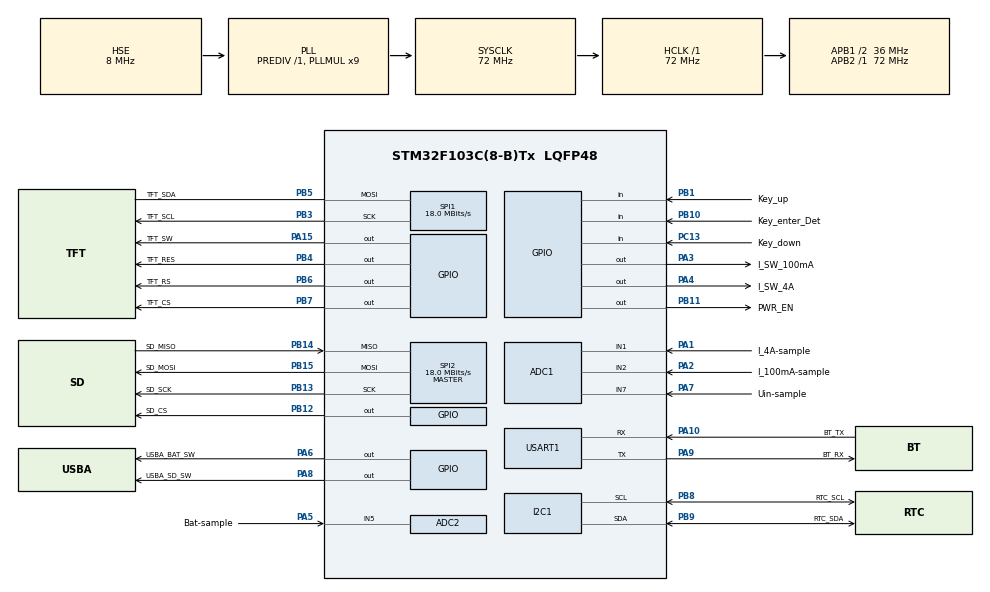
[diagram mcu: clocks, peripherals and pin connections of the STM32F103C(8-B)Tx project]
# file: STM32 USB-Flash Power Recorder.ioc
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ADC1.Channel-0\#ChannelRegularConversion=ADC_CHANNEL_1
ADC1.NbrOfConversionFlag=1
ADC1.Rank-0\#ChannelRegularConversion=1
ADC1.SamplingTime-0\#ChannelRegularConversion=ADC_SAMPLETIME_1CYCLE_5
ADC1.master=1
ADC2.Channel-0\#ChannelRegularConversion=ADC_CHANNEL_5
ADC2.NbrOfConversionFlag=1
ADC2.Rank-0\#ChannelRegularConversion=1
ADC2.SamplingTime-0\#ChannelRegularConversion=ADC_SAMPLETIME_1CYCLE_5
Mcu.Family=STM32F1
Mcu.Name=STM32F103C(8-B)Tx
Mcu.Package=LQFP48
NVIC.PriorityGroup=NVIC_PRIORITYGROUP_4
PA1.GPIO_Label=I_4A-sample
PA1.Signal=ADCx_IN1
PA10.GPIO_Label=BT_TX
PA10.Mode=Asynchronous
PA10.Signal=USART1_RX
PA13.Mode=Serial_Wire
PA13.Signal=SYS_JTMS-SWDIO
PA14.Mode=Serial_Wire
PA14.Signal=SYS_JTCK-SWCLK
PA15.GPIO_Label=TFT_SW
PA15.Signal=GPIO_Output
PA2.GPIO_Label=I_100mA-sample
PA2.Signal=ADCx_IN2
PA3.GPIO_Label=I_SW_100mA
PA3.Signal=GPIO_Output
PA4.GPIO_Label=I_SW_4A
PA4.Signal=GPIO_Output
PA5.GPIO_Label=Bat-sample
PA5.Signal=ADCx_IN5
PA6.GPIO_Label=USBA_BAT_SW
PA6.Signal=GPIO_Output
PA7.GPIO_Label=Uin-sample
PA7.Signal=ADCx_IN7
PA8.GPIO_Label=USBA_SD_SW
PA8.Signal=GPIO_Output
PA9.GPIO_Label=BT_RX 
PA9.Mode=Asynchronous
PA9.Signal=USART1_TX
PB1.GPIO_Label=Key_up
PB1.Signal=GPIO_Input
PB10.GPIO_Label=Key_enter_Det
PB10.Signal=GPIO_Input
PB11.GPIO_Label=PWR_EN
PB11.Signal=GPIO_Output
PB12.GPIO_Label=SD_CS
PB12.Signal=GPIO_Output
PB13.GPIO_Label=SD_SCK
PB13.Mode=Full_Duplex_Master
PB13.Signal=SPI2_SCK
PB14.GPIO_Label=SD_MISO
PB14.Mode=Full_Duplex_Master
PB14.Signal=SPI2_MISO
PB15.GPIO_Label=SD_MOSI
PB15.Mode=Full_Duplex_Master
PB15.Signal=SPI2_MOSI
PB3.GPIO_Label=TFT_SCL
PB3.Mode=Simplex_Bidirectional_Master
PB3.Signal=SPI1_SCK
PB4.GPIO_Label=TFT_RES
PB4.Signal=GPIO_Output
PB5.GPIO_Label=TFT_SDA
PB5.Mode=Simplex_Bidirectional_Master
PB5.Signal=SPI1_MOSI
PB6.GPIO_Label=TFT_RS
PB6.Signal=GPIO_Output
PB7.GPIO_Label=TFT_CS
PB7.Signal=GPIO_Output
PB8.GPIO_Label=RTC_SCL
PB8.Mode=I2C
PB8.Signal=I2C1_SCL
PB9.GPIO_Label=RTC_SDA
PB9.Mode=I2C
PB9.Signal=I2C1_SDA
PC13-TAMPER-RTC.GPIO_Label=Key_down
PC13-TAMPER-RTC.Signal=GPIO_Input
PC14-OSC32_IN.Mode=LSE-External-Clock-Source
PC14-OSC32_IN.Signal=RCC_OSC32_IN
PC15-OSC32_OUT.Mode=LSE-External-Clock-Source
PC15-OSC32_OUT.Signal=RCC_OSC32_OUT
PD0-OSC_IN.Mode=HSE-External-Oscillator
PD0-OSC_IN.Signal=RCC_OSC_IN
PD1-OSC_OUT.Mode=HSE-External-Oscillator
PD1-OSC_OUT.Signal=RCC_OSC_OUT
ProjectManager.HeapSize=0x200
ProjectManager.StackSize=0x400
ProjectManager.TargetToolchain=MDK-ARM V5
RCC.ADCPresc=RCC_ADCPCLK2_DIV6
RCC.AHBFreq_Value=72000000
RCC.APB1CLKDivider=RCC_HCLK_DIV2
RCC.APB1Freq_Value=36000000
RCC.APB1TimFreq_Value=72000000
RCC.APB2Freq_Value=72000000
RCC.APB2TimFreq_Value=72000000
RCC.HCLKFreq_Value=72000000
RCC.PLLMUL=RCC_PLL_MUL9
RCC.PLLSourceVirtual=RCC_PLLSOURCE_HSE
RCC.SYSCLKFreq_VALUE=72000000
RCC.SYSCLKSource=RCC_SYSCLKSOURCE_PLLCLK
RCC.USBFreq_Value=72000000
SH.ADCx_IN1.0=ADC1_IN1,IN1
SH.ADCx_IN2.0=ADC1_IN2,IN2
SH.ADCx_IN5.0=ADC2_IN5,IN5
SH.ADCx_IN7.0=ADC1_IN7,IN7
SPI1.BaudRatePrescaler=SPI_BAUDRATEPRESCALER_4
SPI1.CLKPhase=SPI_PHASE_1EDGE
SPI1.CLKPolarity=SPI_POLARITY_HIGH
SPI1.CalculateBaudRate=18.0 MBits/s
SPI1.DataSize=SPI_DATASIZE_8BIT
SPI1.Direction=SPI_DIRECTION_1LINE
SPI1.FirstBit=SPI_FIRSTBIT_MSB
SPI1.Mode=SPI_MODE_MASTER
SPI1.VirtualType=VM_MASTER
SPI2.CalculateBaudRate=18.0 MBits/s
SPI2.Direction=SPI_DIRECTION_2LINES
SPI2.Mode=SPI_MODE_MASTER
SPI2.VirtualType=VM_MASTER
USART1.VirtualMode=VM_ASYNC
board=custom

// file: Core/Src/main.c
/* USER CODE BEGIN Header */
/**
  ******************************************************************************
  * @file           : main.c
  * @brief          : Main program body
  ******************************************************************************
  * @attention
  *
  * <h2><center>&copy; Copyright (c) 2021 STMicroelectronics.
  * All rights reserved.</center></h2>
  *
  * This software component is licensed by ST under BSD 3-Clause license,
  * the "License"; You may not use this file except in compliance with the
  * License. You may obtain a copy of the License at:
  *                        opensource.org/licenses/BSD-3-Clause
  *
  ******************************************************************************
  */
/* USER CODE END Header */
#include "main.h"
#include "adc.h"
#include "i2c.h"
#include "spi.h"
#include "usart.h"
#include "gpio.h"

/* USER CODE BEGIN Includes */
#include "lcd.h"
#include "gui.h"
#include "test.h"
//#include "Power_SW.h"
/* USER CODE END Includes */

/* USER CODE BEGIN PD */
#define debug 0

#define PWR_On HAL_GPIO_WritePin(PWR_EN_GPIO_Port,PWR_EN_Pin,GPIO_PIN_SET)

#define PWR_Off HAL_GPIO_WritePin(PWR_EN_GPIO_Port,PWR_EN_Pin,GPIO_PIN_RESET)
/* USER CODE END PD */

void SystemClock_Config(void);

int main(void)
{
  /* USER CODE BEGIN 1 */
	uint16_t t;
  /* USER CODE END 1 */

  /* MCU Configuration--------------------------------------------------------*/

  /* Reset of all peripherals, Initializes the Flash interface and the Systick. */
  HAL_Init();

  /* Configure the system clock */
  SystemClock_Config();

  /* Initialize all configured peripherals */
  MX_GPIO_Init();
  MX_ADC1_Init();
  MX_ADC2_Init();
  MX_I2C1_Init();
  MX_SPI1_Init();
  MX_SPI2_Init();
  MX_USART1_UART_Init();
  /* USER CODE BEGIN 2 */
//  if(HAL_GPIO_ReadPin(Key_down_GPIO_Port,Key_down_Pin) == GPIO_PIN_RESET)
//  {
//	  HAL_Delay(10);
//	  if(HAL_GPIO_ReadPin(Key_down_GPIO_Port,Key_down_Pin) == GPIO_PIN_RESET)
//	  {
		  HAL_Delay(2500);
		  PWR_On;
//	  }
//  }
	LCD_Init();
  /* USER CODE END 2 */

  /* Infinite loop */
  /* USER CODE BEGIN WHILE */
  while (1)
  {
		main_test(); 		//测试主界面
		menu_test();     //3D菜单显示测试

	#if debug
	LCD_LED_Off;
	#endif

		Test_Color();  		//简单刷屏填充测试

	#if debug
	LCD_LED_On;
	#endif

		Test_FillRec();		//GUI矩形绘图测试

	#if debug
	LCD_LED_On;
	#endif
		//	Test_Triangle();    //GUI三角形绘图测试
		//	English_Font_test();//英文字体示例测试
		//	Chinese_Font_test();//中文字体示例测试
		Pic_test();			//图片显示示例测试
		//	Rotate_Test();   //旋转显示测试

//		LCD_LED_Off;
//		HAL_Delay(1000);
//		LCD_LED_On;
//		HAL_Delay(1000);
//	  if(HAL_GPIO_ReadPin(Key_down_GPIO_Port,Key_down_Pin) == GPIO_PIN_RESET)
//	  {
//		  t ++;
//		  if(t == 2)
//		  {
//			  t = 0;
			  PWR_Off;
//		  }
//	  }
    /* USER CODE END WHILE */

  }
}

void SystemClock_Config(void)
{
  RCC_OscInitTypeDef RCC_OscInitStruct = {0};
  RCC_ClkInitTypeDef RCC_ClkInitStruct = {0};
  RCC_PeriphCLKInitTypeDef PeriphClkInit = {0};

  /** Initializes the RCC Oscillators according to the specified parameters
  * in the RCC_OscInitTypeDef structure.
  */
  RCC_OscInitStruct.OscillatorType = RCC_OSCILLATORTYPE_HSE;
  RCC_OscInitStruct.HSEState = RCC_HSE_ON;
  RCC_OscInitStruct.HSEPredivValue = RCC_HSE_PREDIV_DIV1;
  RCC_OscInitStruct.HSIState = RCC_HSI_ON;
  RCC_OscInitStruct.PLL.PLLState = RCC_PLL_ON;
  RCC_OscInitStruct.PLL.PLLSource = RCC_PLLSOURCE_HSE;
  RCC_OscInitStruct.PLL.PLLMUL = RCC_PLL_MUL9;
  if (HAL_RCC_OscConfig(&RCC_OscInitStruct) != HAL_OK)
  {
    Error_Handler();
  }
  /** Initializes the CPU, AHB and APB buses clocks
  */
  RCC_ClkInitStruct.ClockType = RCC_CLOCKTYPE_HCLK|RCC_CLOCKTYPE_SYSCLK
                              |RCC_CLOCKTYPE_PCLK1|RCC_CLOCKTYPE_PCLK2;
  RCC_ClkInitStruct.SYSCLKSource = RCC_SYSCLKSOURCE_PLLCLK;
  RCC_ClkInitStruct.AHBCLKDivider = RCC_SYSCLK_DIV1;
  RCC_ClkInitStruct.APB1CLKDivider = RCC_HCLK_DIV2;
  RCC_ClkInitStruct.APB2CLKDivider = RCC_HCLK_DIV1;

  if (HAL_RCC_ClockConfig(&RCC_ClkInitStruct, FLASH_LATENCY_2) != HAL_OK)
  {
    Error_Handler();
  }
  PeriphClkInit.PeriphClockSelection = RCC_PERIPHCLK_ADC;
  PeriphClkInit.AdcClockSelection = RCC_ADCPCLK2_DIV6;
  if (HAL_RCCEx_PeriphCLKConfig(&PeriphClkInit) != HAL_OK)
  {
    Error_Handler();
  }
}

void Error_Handler(void)
{
  __disable_irq();
  while (1)
  {
  }
}

/************************ (C) COPYRIGHT STMicroelectronics *****END OF FILE****/
